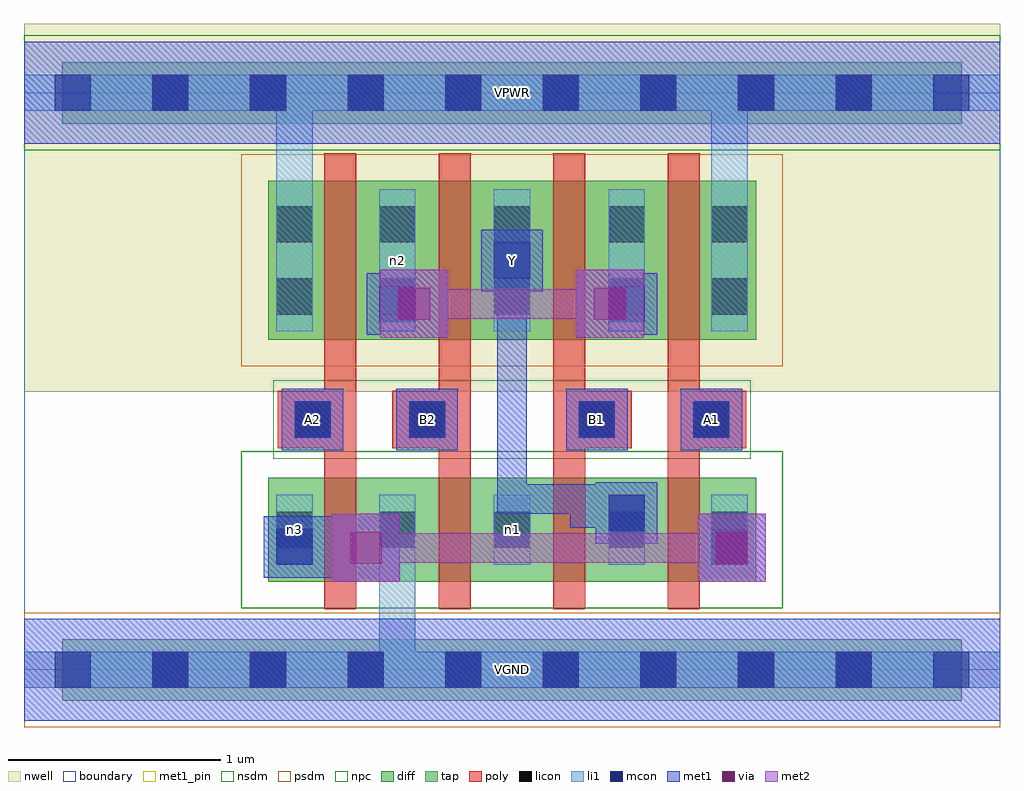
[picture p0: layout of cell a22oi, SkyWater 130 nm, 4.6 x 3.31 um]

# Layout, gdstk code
import gdstk
lib = gdstk.Library(unit=1e-6, precision=1e-09)
def R(c, l, rs):  # rectangles x0, y0, x1, y1
    for r in rs: c.add(gdstk.rectangle(r[:2], r[2:], *l))
def A(c, l, x, y, w, h, nx, ny, dx, dy):  # array of equal rectangles
    R(c, l, [(x+i*dx, y+j*dy, x+i*dx+w, y+j*dy+h) for i in range(nx) for j in range(ny)])
nwell = (64, 20)
diff = (65, 20)
tap = (65, 44)
poly = (66, 20)
licon = (66, 44)
li1 = (67, 20)
mcon = (67, 44)
met1_pin = (68, 16)
met1 = (68, 20)
via = (68, 44)
met2 = (69, 20)
nsdm = (93, 44)
psdm = (94, 20)
npc = (95, 20)
boundary = (235, 4)

a22oi = lib.new_cell('a22oi')
R(a22oi, nwell, [(0,1.31,4.6,3.045)])
R(a22oi, diff, [(1.15,0.415,3.45,0.905), (1.15,1.555,3.45,2.305)])
R(a22oi, tap, [(0.18,-0.145,4.42,0.145), (0.18,2.575,4.42,2.865)])
A(a22oi, poly, 1.415, 0.285, 0.15, 2.15, 4, 1, 0.54, 0)
R(a22oi, poly, [(1.195,1.045,1.525,1.315), (1.735,1.045,2.065,1.315), (2.535,1.045,2.865,1.315), (3.075,1.045,3.405,1.315)])
A(a22oi, licon, 0.605, -0.085, 0.17, 0.17, 8, 2, 0.46, 2.72)
A(a22oi, licon, 1.675, 0.575, 0.17, 0.17, 3, 2, 0.54, 1.1)
A(a22oi, licon, 1.675, 2.015, 0.17, 0.17, 3, 1, 0.54, 0)
R(a22oi, licon, [(1.19,0.575,1.36,0.745), (3.24,0.575,3.41,0.745), (1.275,1.095,1.445,1.265), (1.815,1.095,1.985,1.265), (2.615,1.095,2.785,1.265), (3.155,1.095,3.325,1.265), (1.19,1.675,1.36,1.845), (3.24,1.675,3.41,1.845), (1.19,2.015,1.36,2.185), (3.24,2.015,3.41,2.185)])
A(a22oi, li1, 1.675, 0.495, 0.17, 0.33, 3, 1, 0.54, 0)
A(a22oi, li1, 1.675, 1.595, 0.17, 0.67, 3, 1, 0.54, 0)
R(a22oi, li1, [(0,-0.085,4.6,0.085), (1.675,-0.085,1.845,0.825), (1.19,0.495,1.36,0.825), (3.24,0.495,3.41,0.825), (1.19,1.595,1.36,2.265), (1.19,1.595,1.36,2.805), (3.24,1.595,3.41,2.265), (3.24,1.595,3.41,2.805), (0,2.635,4.6,2.805)])
A(a22oi, mcon, 0.145, -0.085, 0.17, 0.17, 10, 2, 0.46, 2.72)
R(a22oi, mcon, [(1.19,0.495,1.36,0.665), (3.24,0.495,3.41,0.665), (2.755,0.655,2.925,0.825), (1.275,1.095,1.445,1.265), (1.815,1.095,1.985,1.265), (2.615,1.095,2.785,1.265), (3.155,1.095,3.325,1.265), (1.675,1.64,1.845,1.81), (2.755,1.64,2.925,1.81), (2.215,1.845,2.385,2.015)])
R(a22oi, met1_pin, [(0,-0.24,4.6,0.24), (1.215,1.035,1.505,1.325), (1.755,1.035,2.045,1.325), (2.555,1.035,2.845,1.325), (3.095,1.035,3.385,1.325), (2.155,1.785,2.445,2.075), (0,2.48,4.6,2.96)])
R(a22oi, met1, [(0,-0.24,4.6,0.24), (1.45,0.415,1.77,0.735), (3.175,0.415,3.495,0.735), (1.13,0.435,1.42,0.725), (1.42,0.435,1.45,0.725), (3.18,0.435,3.47,0.725), (1.31,0.505,1.45,0.65), (1.31,0.505,1.68,0.645), (3.265,0.505,3.405,0.65), (1.205,0.51,1.45,0.65), (3.255,0.51,3.405,0.65), (2.695,0.595,2.985,0.885), (2.575,0.67,2.91,0.81), (2.575,0.67,2.715,0.875), (2.23,0.735,2.37,2.025), (2.23,0.735,2.715,0.875), (1.215,1.035,1.505,1.325), (1.755,1.035,2.045,1.325), (2.555,1.035,2.845,1.325), (3.095,1.035,3.385,1.325), (1.68,1.565,2,1.885), (2.6,1.565,2.92,1.885), (1.615,1.58,1.905,1.87), (2.695,1.58,2.985,1.87), (1.69,1.655,1.91,1.795), (2.69,1.655,2.91,1.795), (2.155,1.785,2.445,2.075), (2.23,1.885,2.37,2.025), (0,2.48,4.6,2.96)])
R(a22oi, via, [(1.535,0.5,1.685,0.65), (3.26,0.5,3.41,0.65), (1.765,1.65,1.915,1.8), (2.685,1.65,2.835,1.8)])
R(a22oi, met2, [(1.45,0.415,1.77,0.735), (3.175,0.415,3.495,0.735), (1.54,0.505,3.405,0.645), (1.68,1.565,2,1.885), (2.6,1.565,2.92,1.885), (1.77,1.655,2.83,1.795)])
R(a22oi, nsdm, [(1.025,0.29,3.575,1.03), (0,2.45,4.6,2.99)])
R(a22oi, psdm, [(0,-0.27,4.6,0.27), (1.025,1.43,3.575,2.43)])
R(a22oi, npc, [(1.175,0.995,3.425,1.365)])
R(a22oi, boundary, [(0,0,4.6,2.72)])
a22oi.add(gdstk.Label('n3', (1.275,0.66), layer=67, texttype=5))
a22oi.add(gdstk.Label('n1', (2.3,0.66), layer=67, texttype=5))
a22oi.add(gdstk.Label('n2', (1.76,1.93), layer=67, texttype=5))
a22oi.add(gdstk.Label('A2', (1.36,1.18), layer=68, texttype=5))
a22oi.add(gdstk.Label('B2', (1.9,1.18), layer=68, texttype=5))
a22oi.add(gdstk.Label('B1', (2.7,1.18), layer=68, texttype=5))
a22oi.add(gdstk.Label('A1', (3.24,1.18), layer=68, texttype=5))
a22oi.add(gdstk.Label('Y', (2.3,1.93), layer=68, texttype=5))
a22oi.add(gdstk.Label('VPWR', (2.3,2.72), layer=68, texttype=5))
a22oi.add(gdstk.Label('VGND', (2.3,0), layer=68, texttype=5))
a22oi.add(gdstk.Label('A2', (1.36,1.18), layer=68, texttype=16))
a22oi.add(gdstk.Label('B2', (1.9,1.18), layer=68, texttype=16))
a22oi.add(gdstk.Label('B1', (2.7,1.18), layer=68, texttype=16))
a22oi.add(gdstk.Label('A1', (3.24,1.18), layer=68, texttype=16))
a22oi.add(gdstk.Label('Y', (2.3,1.93), layer=68, texttype=16))
a22oi.add(gdstk.Label('VPWR', (2.3,2.72), layer=68, texttype=16))
a22oi.add(gdstk.Label('VGND', (2.3,0), layer=68, texttype=16))

lib.write_gds('a22oi.gds')
